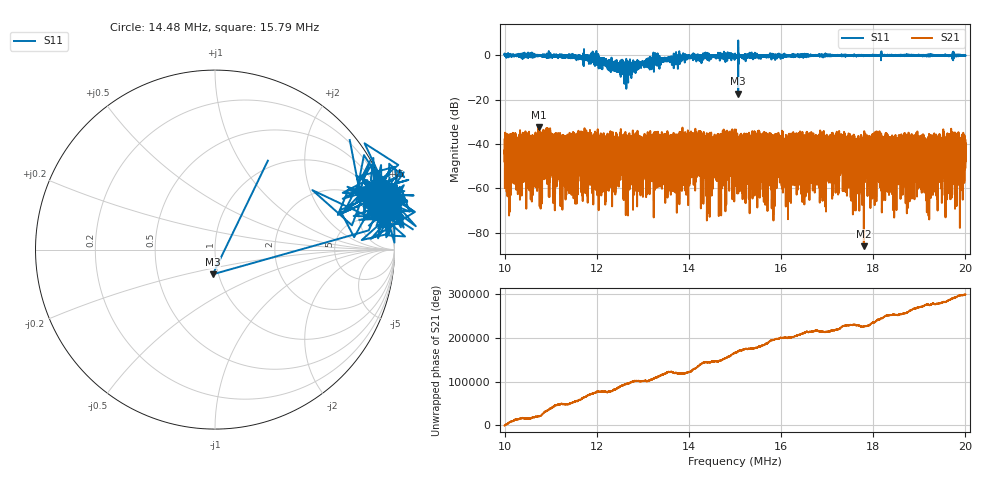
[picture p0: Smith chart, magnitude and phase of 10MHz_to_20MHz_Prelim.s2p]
# HZ S RI R 50
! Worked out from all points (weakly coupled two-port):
!   20200 points, 10 MHz to 20 MHz, reference 50 ohm
!   highest |S21| = -32.24 dB at 10.74 MHz (marker M1); lowest = -86.0 dB at 17.79 MHz (marker M2)
!   lowest |S11| = -17.2 dB at 15.07 MHz (marker M3), VSWR 1.32, Z = 47 - j13.2 ohm
!   |S11| at or under -10 dB: 12.59023 MHz to 12.59046 MHz (229.1 Hz wide, 0.00182 % of centre); 12.59953 MHz to 12.59991 MHz (373 Hz wide, 0.00296 % of centre); 12.67984 MHz to 12.68056 MHz (725.3 Hz wide, 0.00572 % of centre)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
!   S12 and S22 are empty: the file has one direction only
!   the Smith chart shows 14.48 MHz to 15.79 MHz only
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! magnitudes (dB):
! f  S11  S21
! 10 MHz  0.6  -44.2
! 10.74 MHz  -0.1  -32.2
! 11.12 MHz  -0.7  -42.2
! 11.23 MHz  -0.4  -48.6
! 11.67 MHz  -1.2  -39.5
! 12.22 MHz  -3.7  -60.8
! 12.5 MHz  -5.8  -48.2
! 12.91 MHz  -4.2  -49.3
! 13.33 MHz  -2.4  -40.5
! 13.75 MHz  -1.1  -42.1
! 14.08 MHz  -0.6  -36.9
! 14.47 MHz  -0.5  -59.9
! 15 MHz  0.3  -40.0
! 15.07 MHz  -17.2  -46.3
! 16.67 MHz  -0.2  -38.0
! 17.79 MHz  0.1  -86.0
! 18.33 MHz  0.0  -41.8
! 18.45 MHz  0.0  -73.1
! 18.95 MHz  0.0  -43.8
! 19.15 MHz  0.1  -38.6
! 19.65 MHz  0.1  -50.8
! 20 MHz  0.0  -44.9
